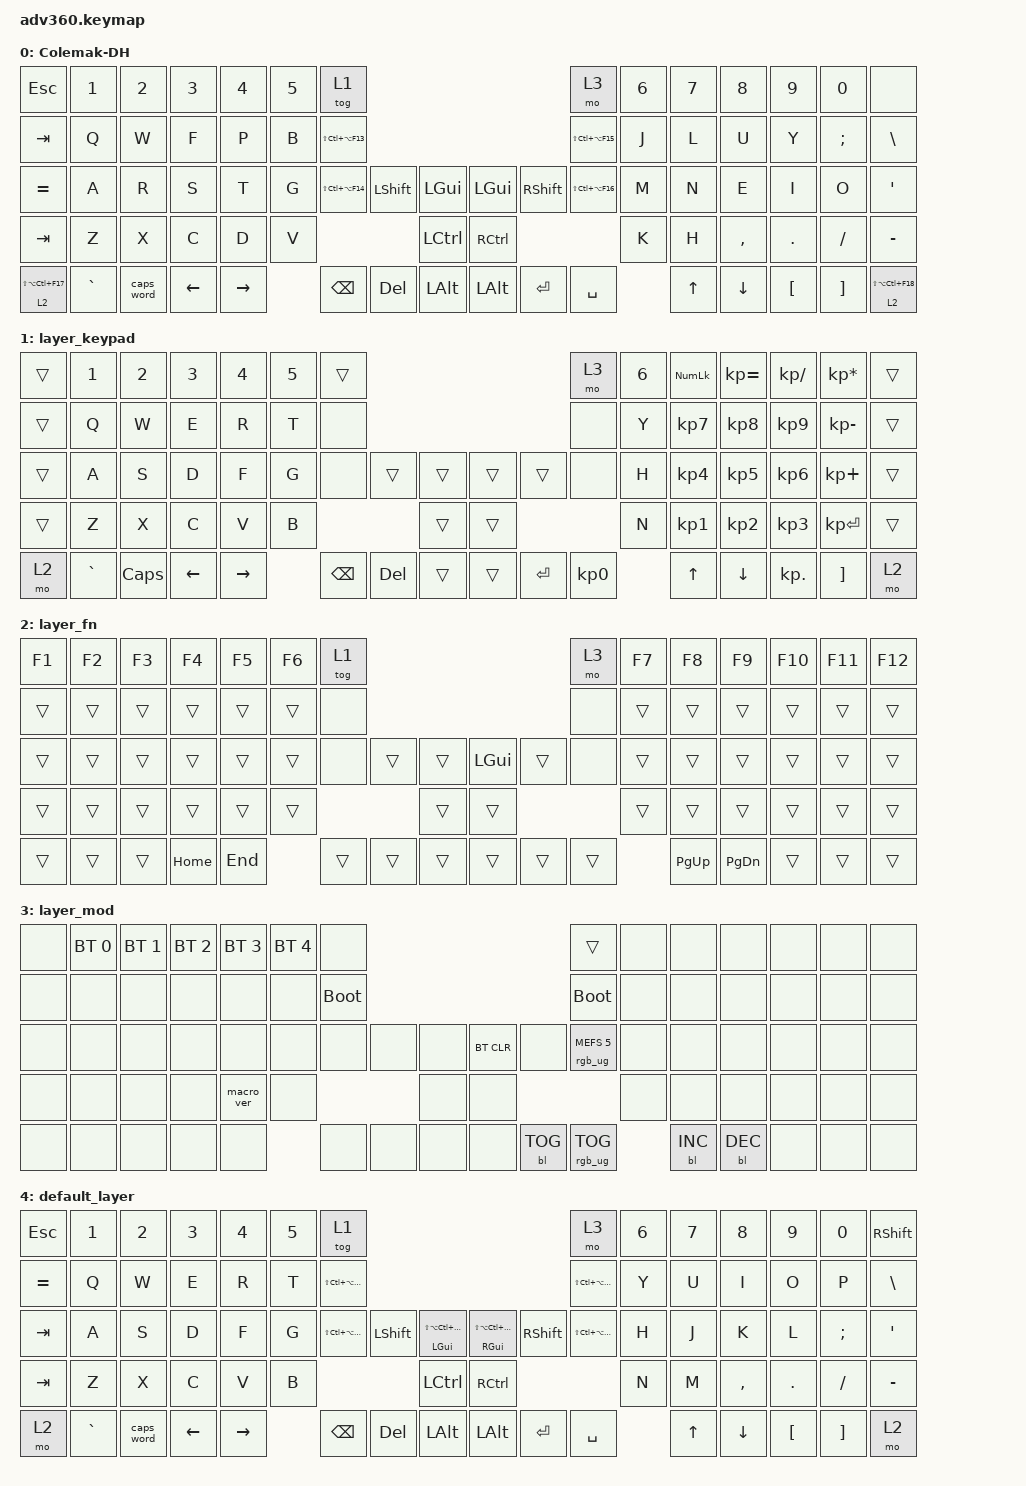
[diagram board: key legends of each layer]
/*
 * Copyright (c) 2020 The ZMK Contributors
 *
 * SPDX-License-Identifier: MIT
 */
/* THIS FILE WAS GENERATED!
 *
 * This file was generated automatically. You may or may not want to
 * edit it directly.
 */

#include <dt-bindings/zmk/stp.h>
#include <behaviors.dtsi>
#include <dt-bindings/zmk/backlight.h>
#include <dt-bindings/zmk/bt.h>
#include <dt-bindings/zmk/keys.h>
#include <dt-bindings/zmk/rgb.h>

&lt { flavor = "hold-preferred"; };

/ {
    behaviors {
        #include "macros.dtsi"
      #include "version.dtsi"

        hm: homerow_mods {
            compatible = "zmk,behavior-hold-tap";
            label = "HOMEROW_MODS";
            #binding-cells = <2>;
            tapping-term-ms = <200>;
            quick_tap_ms = <175>;
            flavor = "tap-preferred";
            bindings = <&kp>, <&kp>;
        };
    };

    combos {
        compatible = "zmk,combos";

        go-to-qwerty-layer {
            bindings = <&tog 4>;
            key-positions = <65 70>;
        };
    };

    keymap {
        compatible = "zmk,keymap";

        Colemak-DH {
            bindings = <
&kp ESC                &kp N1     &kp N2      &kp N3    &kp N4     &kp N5  &tog 1                                                                     &mo 3                &kp N6  &kp N7  &kp N8     &kp N9    &kp N0    &none
&kp TAB                &kp Q      &kp W       &kp F     &kp P      &kp B   &kp LS(LC(LA(F13)))                                                        &kp LS(LC(LA(F15)))  &kp J   &kp L   &kp U      &kp Y     &kp SEMI  &kp BSLH
&kp EQUAL              &kp A      &kp R       &kp S     &kp T      &kp G   &kp LS(LC(LA(F14)))  &kp LEFT_SHIFT  &kp LGUI       &kp LGUI   &kp RSHIFT  &kp LS(LC(LA(F16)))  &kp M   &kp N   &kp E      &kp I     &kp O     &kp SQT
&kp TAB                &kp Z      &kp X       &kp C     &kp D      &kp V                                        &kp LCTRL      &kp RCTRL                                   &kp K   &kp H   &kp COMMA  &kp DOT   &kp FSLH  &kp MINUS
&lt 2 LS(LA(LC(F17)))  &kp GRAVE  &caps_word  &kp LEFT  &kp RIGHT          &kp BSPC             &kp DEL         &kp LALT       &kp LALT   &kp ENTER   &kp SPACE                    &kp UP  &kp DOWN   &kp LBKT  &kp RBKT  &lt 2 LS(LA(LC(F18)))
            >;
        };

        layer_keypad {
            bindings = <
&trans  &kp N1     &kp N2    &kp N3    &kp N4     &kp N5  &trans                                            &mo 3      &kp N6  &kp KP_NUM  &kp KP_EQUAL  &kp KP_DIVIDE  &kp KP_MULTIPLY  &trans
&trans  &kp Q      &kp W     &kp E     &kp R      &kp T   &none                                             &none      &kp Y   &kp KP_N7   &kp KP_N8     &kp KP_N9      &kp KP_MINUS     &trans
&trans  &kp A      &kp S     &kp D     &kp F      &kp G   &none     &trans   &trans      &trans  &trans     &none      &kp H   &kp KP_N4   &kp KP_N5     &kp KP_N6      &kp KP_PLUS      &trans
&trans  &kp Z      &kp X     &kp C     &kp V      &kp B                      &trans      &trans                        &kp N   &kp KP_N1   &kp KP_N2     &kp KP_N3      &kp KP_ENTER     &trans
&mo 2   &kp GRAVE  &kp CAPS  &kp LEFT  &kp RIGHT          &kp BSPC  &kp DEL  &trans      &trans  &kp ENTER  &kp KP_N0          &kp UP      &kp DOWN      &kp KP_DOT     &kp RBKT         &mo 2
            >;
        };

        layer_fn {
            bindings = <
&kp F1  &kp F2  &kp F3  &kp F4    &kp F5   &kp F6  &tog 1                                        &mo 3   &kp F7  &kp F8     &kp F9     &kp F10  &kp F11  &kp F12
&trans  &trans  &trans  &trans    &trans   &trans  &none                                         &none   &trans  &trans     &trans     &trans   &trans   &trans
&trans  &trans  &trans  &trans    &trans   &trans  &none   &trans  &trans      &kp LGUI  &trans  &none   &trans  &trans     &trans     &trans   &trans   &trans
&trans  &trans  &trans  &trans    &trans   &trans                  &trans      &trans                    &trans  &trans     &trans     &trans   &trans   &trans
&trans  &trans  &trans  &kp HOME  &kp END          &trans  &trans  &trans      &trans    &trans  &trans          &kp PG_UP  &kp PG_DN  &trans   &trans   &trans
            >;
        };

        layer_mod {
            bindings = <
&none  &bt BT_SEL 0  &bt BT_SEL 1  &bt BT_SEL 2  &bt BT_SEL 3  &bt BT_SEL 4  &none                                                  &trans                  &none  &none       &none       &none  &none  &none
&none  &none         &none         &none         &none         &none         &bootloader                                            &bootloader             &none  &none       &none       &none  &none  &none
&none  &none         &none         &none         &none         &none         &none        &none  &none      &bt BT_CLR  &none       &rgb_ug RGB_MEFS_CMD 5  &none  &none       &none       &none  &none  &none
&none  &none         &none         &none         &macro_ver    &none                             &none      &none                                           &none  &none       &none       &none  &none  &none
&none  &none         &none         &none         &none                       &none        &none  &none      &none       &bl BL_TOG  &rgb_ug RGB_TOG                &bl BL_INC  &bl BL_DEC  &none  &none  &none
            >;
        };

        default_layer {
            bindings = <
&kp ESC    &kp N1     &kp N2      &kp N3    &kp N4     &kp N5  &tog 1                                                                                                            &mo 3                   &kp N6  &kp N7  &kp N8     &kp N9    &kp N0    &kp RIGHT_SHIFT
&kp EQUAL  &kp Q      &kp W       &kp E     &kp R      &kp T   &kp LS(LC(LA(LG(F1))))                                                                                            &kp LS(LC(LA(LG(F3))))  &kp Y   &kp U   &kp I      &kp O     &kp P     &kp BSLH
&kp TAB    &kp A      &kp S       &kp D     &kp F      &kp G   &kp LS(LC(LA(LG(F2))))  &kp LEFT_SHIFT  &mt LGUI LS(LA(LC(LG(F5))))      &mt RGUI LS(LA(LC(LG(F6))))  &kp RSHIFT  &kp LS(LC(LA(LG(F4))))  &kp H   &kp J   &kp K      &kp L     &kp SEMI  &kp SQT
&kp TAB    &kp Z      &kp X       &kp C     &kp V      &kp B                                           &kp LCTRL                        &kp RCTRL                                                        &kp N   &kp M   &kp COMMA  &kp DOT   &kp FSLH  &kp MINUS
&mo 2      &kp GRAVE  &caps_word  &kp LEFT  &kp RIGHT          &kp BSPC                &kp DEL         &kp LALT                         &kp LALT                     &kp ENTER   &kp SPACE                       &kp UP  &kp DOWN   &kp LBKT  &kp RBKT  &mo 2
            >;
        };
    };
};
